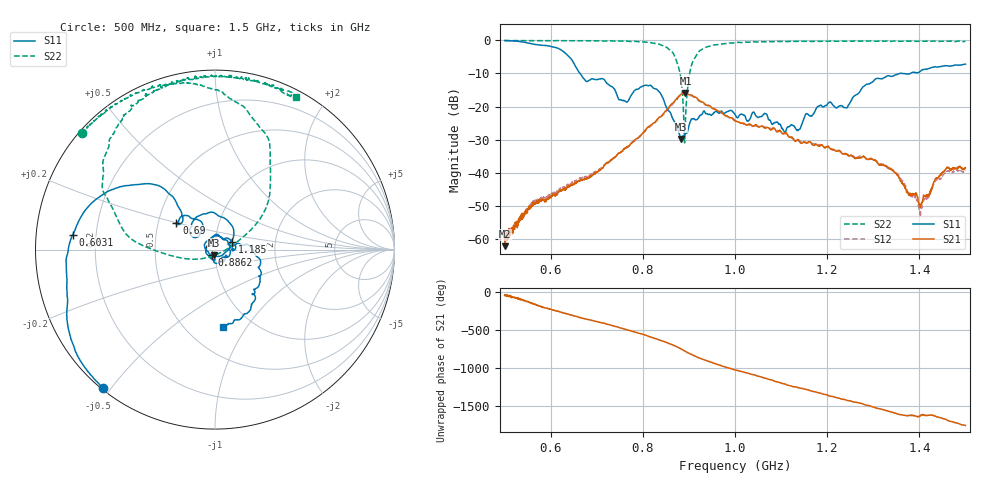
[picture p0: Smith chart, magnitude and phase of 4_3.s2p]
!Agilent Technologies,E8364B,US42250235,A.06.04.32
!Agilent E8364B: A.06.04.32
!Date: Friday, January 15, 2021 12:08:15
!Correction: S11(Full 2 Port(1,2)) S21(Full 2 Port(1,2)) S12(Full 2 Port(1,2)) S22(Full 2 Port(1,2))
!S2P File: Measurements: S11, S21, S12, S22:
# Hz S  dB  R 50
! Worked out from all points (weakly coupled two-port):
!   1601 points, 500 MHz to 1.5 GHz, reference 50 ohm
!   highest |S21| = -15.94 dB at 892.5 MHz (marker M1); lowest = -62.1 dB at 500 MHz (marker M2)
!   lowest |S11| = -29.8 dB at 883.1 MHz (marker M3), VSWR 1.07, Z = 49.4 - j3.17 ohm
!   |S11| at or under -10 dB: 663.6 MHz to 1.358 GHz (694.7 MHz wide, 68.7 % of centre); 1.363 GHz to 1.381 GHz (18.14 MHz wide, 1.32 % of centre)
!   |S22| runs from -31.0 to -0.1 dB; largest |S21 - S12| = 0.0065
!   S11 on the Smith chart (normalised r, x): 500 MHz: 0.01, -0.48; 603.1 MHz: 0.11, +0.05; 690 MHz: 0.62, +0.20; 886.2 MHz: 0.97, -0.06; 1.185 GHz: 1.21, +0.10; 1.5 GHz: 0.74, -0.79
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5e8  -0.08 -129.0  -62.10 -46.3  -59.03 -35.1  -0.12 138.6
6.03125e8  -1.97 174.1  -47.06 120.6  -45.93 119.7  -0.18 129.1
6.35625e8  -4.39 143.7  -44.20 69.3  -43.74 67.3  -0.17 125.8
6.66875e8  -10.61 131.1  -42.05 14.4  -41.44 9.7  -0.16 122.3
6.9e8  -11.63 145.2  -40.86 -17.5  -40.41 -25.3  -0.21 119.1
7.61875e8  -18.43 134.6  -32.45 -133.7  -32.73 -137.8  -0.29 108.8
8.3375e8  -15.36 62.7  -23.47 91.1  -23.79 88.1  -1.13 87.1
8.6625e8  -24.01 -10.6  -18.82 17.2  -19.02 16.0  -4.03 60.7
8.83125e8  -29.76 -99.6  -16.27 -32.6  -16.49 -34.1  -12.22 30.1
8.8625e8  -28.91 -116.1  -16.09 -43.6  -16.33 -44.9  -16.76 21.0
8.925e8  -28.11 -147.9  -15.94 -64.8  -16.19 -65.9  -23.91 -135.3
9.03125e8  -24.45 164.8  -16.51 -96.9  -16.71 -98.6  -8.95 179.4
9.1875e8  -23.79 115.8  -17.67 -141.9  -18.01 -142.8  -3.96 156.7
1e9  -22.44 -35.2  -24.30 52.4  -24.28 53.2  -0.80 120.7
1.106875e9  -27.60 -119.8  -28.11 -129.6  -28.09 -132.1  -0.38 105.2
1.166875e9  -22.80 51.4  -31.21 131.7  -31.03 135.3  -0.38 97.8
1.185e9  -19.62 23.9  -31.84 108.4  -31.57 107.0  -0.38 96.0
1.240625e9  -20.38 3.2  -34.28 17.4  -34.40 21.2  -0.33 90.5
1.33375e9  -10.71 -29.6  -38.42 -131.9  -38.69 -130.7  -0.27 81.3
1.401875e9  -9.42 -49.0  -50.35 167.2  -51.54 172.3  -0.26 73.2
1.4375e9  -8.10 -65.0  -41.71 154.5  -41.84 156.8  -0.32 70.7
1.5e9  -7.23 -83.8  -38.43 42.9  -39.24 48.5  -0.31 62.1
